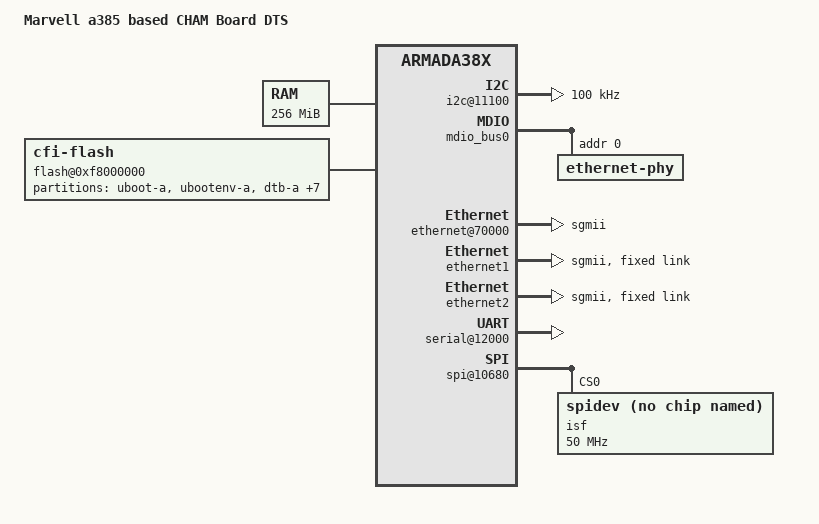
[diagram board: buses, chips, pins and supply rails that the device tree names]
/*
 * Device Tree file for Chassis Management (CHAM) board
 * This board is based on Marvell Armada 38X
 *
 * This file is licensed under the terms of the GNU General Public
 * License version 2.  This program is licensed "as is" without any
 * warranty of any kind, whether express or implied.
 */

/dts-v1/;
#include <dt-bindings/gpio/gpio.h>
#include "armada-385-388.dtsi"

/ {
	model = "Marvell a385 based CHAM Board DTS";
	compatible = "marvell,a385-db-ap", "marvell,armada385", "marvell,armada38x";

	chosen {
		bootargs = "console=ttyS0,115200 earlyprintk";
	};

	memory {
		device_type = "memory";
		reg = <0x00000000 0x10000000>; /* 256 MB */
	};

	soc {
		compatible = "marvell,armada380-mbus", "simple-bus";
		#address-cells = <2>;
		#size-cells = <1>;
		controller = <&mbusc>;
		interrupt-parent = <&gic>;
		pcie-mem-aperture = <0xe0000000 0x8000000>;
		pcie-io-aperture  = <0xe8000000 0x100000>;

		ranges = <
			  MBUS_ID(0xf0, 0x01) 0 0xf1000000 0x100000
			  MBUS_ID(0x01, 0x1e) 0 0xf4000000 0x10
			  MBUS_ID(0x0c, 0x04) 0 0xf1200000 0x100000	/* BM: PHYS=0xf1200000 size 1M */
			  MBUS_ID(0x0b, 0x04) 0 0xf1300000 0x100000	/* PNC: PHYS=0xf1300000 size 1M */
			  MBUS_ID(0x01, 0x2F) 0 0xD8000000 0x8000000  	/*Flash*/
			  MBUS_ID(0x01, 0x1D) 0 0xf8000000 0x8000000>;  /* Boot ROm*/

		/* Block Transfer towards BMC in FPGA */
		bt@f4000000 {
			compatible = "ipmi-bt";
			device_type = "ipmi";
			reg = <0x11e0000 0x0 0x10>;
			interrupt-parent = <&gpio0>;
			interrupts = <25 8>;
			reg-size = <0x0002>;
			reg-spacing = <0x0002>;
		};

		flash@0xf8000000 {
			compatible = "cfi-flash";
			reg = <0x012f0000 0x0 0x8000000>;
			bank-width = <2>;
			#address-cells = <1>;
			#size-cells = <1>;
			use-advanced-sector-protection;

			partition@0 {
				label = "uboot-a";
				reg = <0 0x100000>;
			};

			partition@100000 {
				label = "ubootenv-a";
				reg = <0x100000 0x20000>;
			};

			partition@120000 {
				label = "dtb-a";
				reg = <0x120000 0x20000>;
			};

			partition@140000 {
				label = "kernel-a";
				reg = <0x140000 0x900000>;
			};

			partition@A40000 {
				label = "root-a";
				reg = <0xA40000 0x35C0000>;
			};

			partition@4000000 {
				label = "uboot-b";
				reg = <0x4000000 0x100000>;
			};

			partition@4100000 {
				label = "ubootenv-b";
				reg = <0x4100000 0x20000>;
			};

			partition@4120000 {
				label = "dtb-b";
				reg = <0x4120000 0x20000>;
			};

			partition@4140000 {
				label = "kernel-b";
				reg = <0x4140000 0x900000>;
			};

			partition@4A40000 {
				label = "root-b";
				reg = <0x4A40000 0x35C0000>;
			};
		};

		internal-regs {

			/* Connection to Backplane*/
			i2c@11100 {
				compatible = "marvell,mv64xxx-i2c";
				reg = <0x11100 0x20>;
				#address-cells = <0x1>;
				#size-cells = <0x0>;
				interrupts = <0x0 0x3 0x4>;
				timeout-ms = <0x3e8>;
				clocks = <0x3 0x0>;
				status = "okay";
				clock-frequency = <100000>;
			};

			mdio_bus0:mdio {
				#address-cells = <1>;
				#size-cells = <0>;
				compatible = "marvell,orion-mdio";
				reg = <0x72004 0x4>;
				ethernet-phy@0 {
					reg = <0x0>;
					linux,phandle = <0x7>;
					phandle = <0x7>;
				};
			};

			/* Debug ethernet port */
			ethernet@70000 {
				compatible = "marvell,neta";
				reg = <0x70000 0x4000>;
				interrupts-extended = <&mpic 0x8>;
				clocks = <&gateclk 0x4>;
				tx-csum-limit = <0x2648>;
				status = "okay";
				eth,port-num = <0x0>;
				eth,port-mtu = <0x5dc>;
				phy = <0x7>;
				phy-mode = "sgmii";
			};
			/* Port to Switch */
			ethernet1: ethernet@30000 {
				compatible = "marvell,armada-370-neta";
				reg = <0x30000 0x4000>;
				interrupts-extended = <&mpic 0xa>;
				clocks = <&gateclk 0x3>;
				tx-csum-limit = <0x800>;
				status = "okay";
				eth,port-num = <0x1>;
				eth,port-mtu = <0x5dc>;
				phy-mode = "sgmii";
				fixed-link {
					speed = <1000>;
					full-duplex;
				};
			};
			/* Port to other CMM */
			ethernet2: ethernet@34000 {
				compatible = "marvell,armada-370-neta";
				reg = <0x34000 0x4000>;
				interrupts-extended = <&mpic 0xc>;
				clocks = <&gateclk 0x2>;
				tx-csum-limit = <0x800>;
				status = "okay";
				eth,port-num = <0x2>;
				eth,port-mtu = <0x5dc>;
				phy-mode = "sgmii";
				fixed-link {
					speed = <1000>;
					full-duplex;
				};
			};

			serial@12000 {
				status = "okay";
			};

			spi@10680 {
				compatible = "marvell,orion-spi";
				reg = <0x10680 0x50>;
				#address-cells = <0x1>;
				#size-cells = <0x0>;
				cell-index = <0x1>;
				interrupts = <0x0 0x3f 0x4>;
				clocks = <0x3 0x0>;
				status = "okay";
				isf@0 {
					compatible = "spidev";
					reg = <0x0>;
					spi-max-frequency = <50000000>;
				};
			};

		};

	};
	/* Marvell switch mdio device */
	mv_switch@0 {
		compatible = "marvell,switch";
		#address-cells = <2>;
		#size-cells = <0>;

		mv_switch,mii-bus = <&mdio_bus0>;

	};
};
